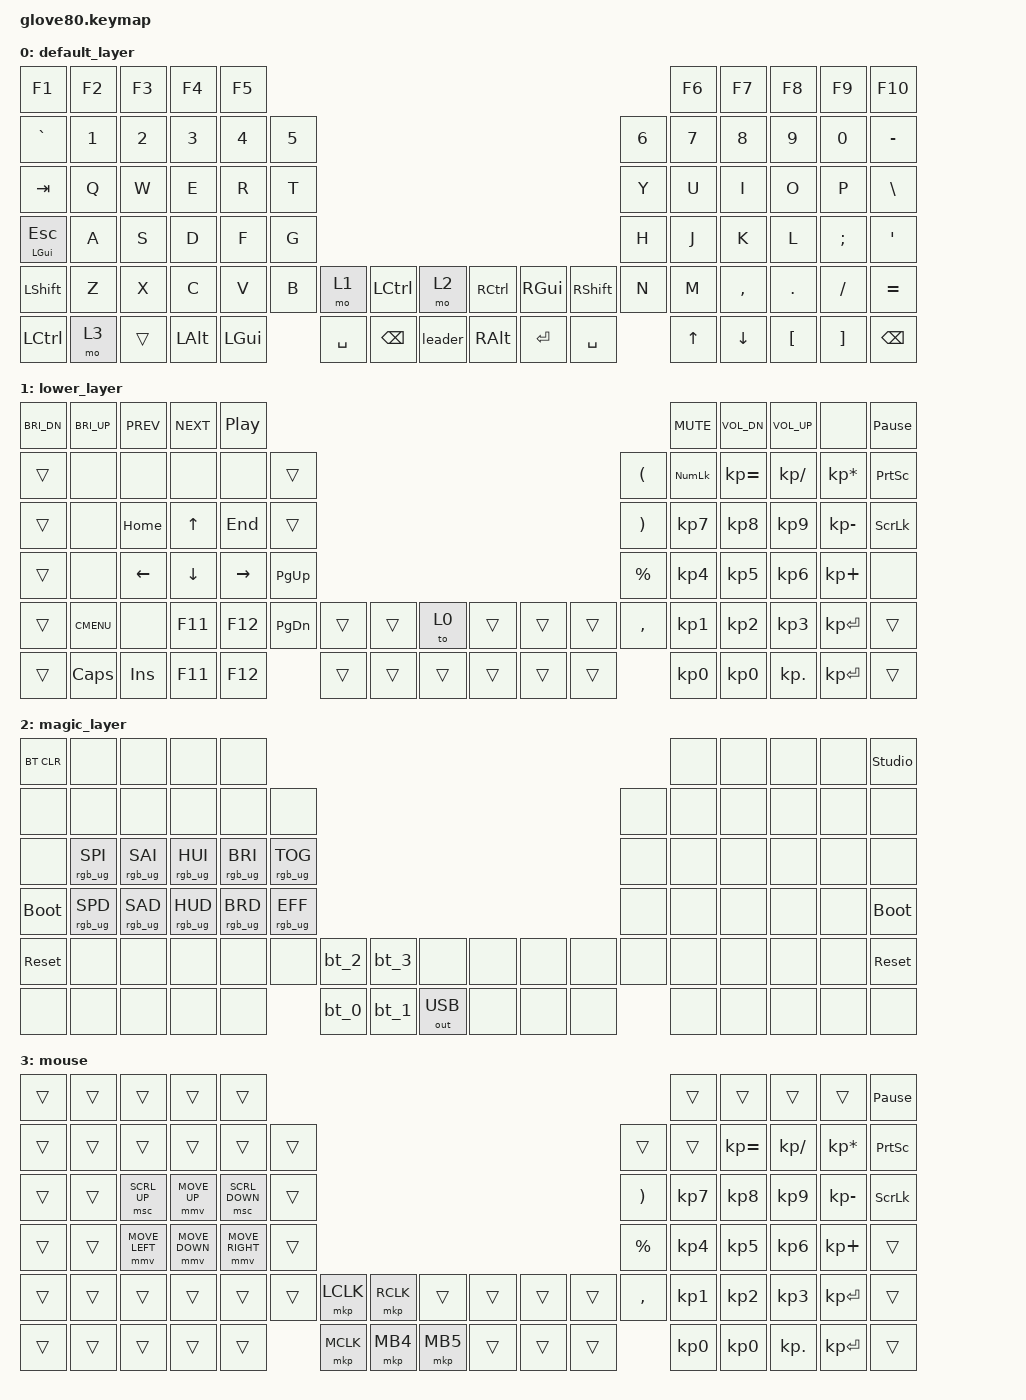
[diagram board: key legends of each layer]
/*
 * Copyright (c) 2020 The ZMK Contributors
 *
 * SPDX-License-Identifier: MIT
 */

#include <behaviors.dtsi>
#include <dt-bindings/zmk/bt.h>
#include <dt-bindings/zmk/keys.h>
#include <dt-bindings/zmk/outputs.h>
#include <dt-bindings/zmk/pointing.h>
#include <dt-bindings/zmk/rgb.h>

// layers

#define DEFAULT 0
#define LOWER 1
#define MAGIC 2

/ {
    behaviors {
        // For the "layer" key, it'd nice to be able to use it as either a shift or a toggle.
        // Configure it as a tap dance, so the first tap (or hold) is a &mo and the second tap is a &to

        layer_td: tap_dance_0 {
            compatible = "zmk,behavior-tap-dance";
            #binding-cells = <0>;
            tapping-term-ms = <200>;
            bindings = <&mo 1>, <&to 1>;
        };

        leader: leader {
            compatible = "zmk,behavior-leader-key";
            #binding-cells = <0>;

            usb {
                sequence = <U S B>;
                bindings = <&out OUT_USB>;
            };

            bt1 {
                sequence = <B T N1>;
                bindings = <&bt BT_SEL 0>;
            };

            bt2 {
                sequence = <B T N2>;
                bindings = <&bt BT_SEL 1>;
            };

            bt3 {
                sequence = <B T N3>;
                bindings = <&bt BT_SEL 2>;
            };

            boot {
                sequence = <B O O T>;
                bindings = <&bootloader>;
            };

            reset {
                sequence = <R E S E T>;
                bindings = <&sys_reset>;
            };
        };
    };

    macros {
        bt_0: bt_profile_macro_0 {
            compatible = "zmk,behavior-macro";
            #binding-cells = <0>;
            bindings = <&out OUT_BLE &bt BT_SEL 0>;
        };

        bt_1: bt_profile_macro_1 {
            compatible = "zmk,behavior-macro";
            #binding-cells = <0>;
            bindings = <&out OUT_BLE &bt BT_SEL 1>;
        };

        bt_2: bt_profile_macro_2 {
            compatible = "zmk,behavior-macro";
            #binding-cells = <0>;
            bindings = <&out OUT_BLE &bt BT_SEL 2>;
        };

        bt_3: bt_profile_macro_3 {
            compatible = "zmk,behavior-macro";
            #binding-cells = <0>;
            bindings = <&out OUT_BLE &bt BT_SEL 3>;
        };
    };

    keymap {
        compatible = "zmk,keymap";

        default_layer {
            // ---------------------------------------------------------------------------------------------------------------------------------
            // |  F1   |  F2 |  F3 |  F4  |  F5  |                                                               |  F6   |  F7   |  F8  |   F9  |  F10 |
            // |  =    |  1  |  2  |  3   |  4   |  5   |                                                 |  6   |   7   |   8   |  9   |   0   |   -  |
            // |  TAB  |  Q  |  W  |  E   |  R   |  T   |                                                 |  Y   |   U   |   I   |  O   |   P   |   \  |
            // |  ESC  |  A  |  S  |  D   |  F   |  G   |                                                 |  H   |   J   |   K   |  L   |   ;   |   '  |
            // |   `   |  Z  |  X  |  C   |  V   |  B   | LSHFT | LCTRL | LOWER | | LGUI  | RCTRL | RSHFT |  N   |   M   |   ,   |  .   |   /   | PGUP |
            // | MAGIC | HOME| END | LEFT | RIGHT|      | BSPC  | DEL   | LALT  | | RALT  | RET   | SPACE |      |  UP   | DOWN  |  [   |   ]   | PGDN |

            bindings = <
&kp F1               &kp F2  &kp F3  &kp F4        &kp F5                                                                                                  &kp F6  &kp F7     &kp F8    &kp F9    &kp F10
&kp GRAVE            &kp N1  &kp N2  &kp N3        &kp N4        &kp N5                                                                            &kp N6  &kp N7  &kp N8     &kp N9    &kp N0    &kp MINUS
&kp TAB              &kp Q   &kp W   &kp E         &kp R         &kp T                                                                             &kp Y   &kp U   &kp I      &kp O     &kp P     &kp BSLH
&mt LEFT_GUI ESCAPE  &kp A   &kp S   &kp D         &kp F         &kp G                                                                             &kp H   &kp J   &kp K      &kp L     &kp SEMI  &kp SQT
&kp LSHIFT           &kp Z   &kp X   &kp C         &kp V         &kp B   &mo 1      &kp LCTRL      &mo 2      &kp RCTRL  &kp RIGHT_GUI  &kp RSHFT  &kp N   &kp M   &kp COMMA  &kp DOT   &kp FSLH  &kp EQUAL
&kp LCTRL            &mo 3   &trans  &kp LEFT_ALT  &kp LEFT_GUI          &kp SPACE  &kp BACKSPACE  &leader    &kp RALT   &kp RET        &kp SPACE          &kp UP  &kp DOWN   &kp LBKT  &kp RBKT  &kp BACKSPACE
            >;
        };

        lower_layer {
            bindings = <
&kp C_BRI_DN  &kp C_BRI_UP  &kp C_PREV  &kp C_NEXT  &kp C_PP                                                                           &kp C_MUTE  &kp C_VOL_DN  &kp C_VOL_UP   &none            &kp PAUSE_BREAK
&trans        &none         &none       &none       &none      &trans                                                       &kp LPAR   &kp KP_NUM  &kp KP_EQUAL  &kp KP_DIVIDE  &kp KP_MULTIPLY  &kp PSCRN
&trans        &none         &kp HOME    &kp UP      &kp END    &trans                                                       &kp RPAR   &kp KP_N7   &kp KP_N8     &kp KP_N9      &kp KP_MINUS     &kp SLCK
&trans        &none         &kp LEFT    &kp DOWN    &kp RIGHT  &kp PG_UP                                                    &kp PRCNT  &kp KP_N4   &kp KP_N5     &kp KP_N6      &kp KP_PLUS      &none
&trans        &kp K_CMENU   &none       &kp F11     &kp F12    &kp PG_DN  &trans  &trans  &to 0     &trans  &trans  &trans  &kp COMMA  &kp KP_N1   &kp KP_N2     &kp KP_N3      &kp KP_ENTER     &trans
&trans        &kp CAPS      &kp INS     &kp F11     &kp F12               &trans  &trans  &trans    &trans  &trans  &trans             &kp KP_N0   &kp KP_N0     &kp KP_DOT     &kp KP_ENTER     &trans
            >;
        };

        magic_layer {
            bindings = <
&bt BT_CLR   &none            &none            &none            &none                                                                                       &none  &none  &none  &none  &studio_unlock
&none        &none            &none            &none            &none            &none                                                               &none  &none  &none  &none  &none  &none
&none        &rgb_ug RGB_SPI  &rgb_ug RGB_SAI  &rgb_ug RGB_HUI  &rgb_ug RGB_BRI  &rgb_ug RGB_TOG                                                     &none  &none  &none  &none  &none  &none
&bootloader  &rgb_ug RGB_SPD  &rgb_ug RGB_SAD  &rgb_ug RGB_HUD  &rgb_ug RGB_BRD  &rgb_ug RGB_EFF                                                     &none  &none  &none  &none  &none  &bootloader
&sys_reset   &none            &none            &none            &none            &none            &bt_2  &bt_3  &none           &none  &none  &none  &none  &none  &none  &none  &none  &sys_reset
&none        &none            &none            &none            &none                             &bt_0  &bt_1  &out OUT_USB    &none  &none  &none         &none  &none  &none  &none  &none
            >;
        };

        mouse {
            bindings = <
&trans  &trans  &trans          &trans          &trans                                                                                        &trans     &trans        &trans         &trans           &kp PAUSE_BREAK
&trans  &trans  &trans          &trans          &trans           &trans                                                            &trans     &trans     &kp KP_EQUAL  &kp KP_DIVIDE  &kp KP_MULTIPLY  &kp PSCRN
&trans  &trans  &msc SCRL_UP    &mmv MOVE_UP    &msc SCRL_DOWN   &trans                                                            &kp RPAR   &kp KP_N7  &kp KP_N8     &kp KP_N9      &kp KP_MINUS     &kp SLCK
&trans  &trans  &mmv MOVE_LEFT  &mmv MOVE_DOWN  &mmv MOVE_RIGHT  &trans                                                            &kp PRCNT  &kp KP_N4  &kp KP_N5     &kp KP_N6      &kp KP_PLUS      &trans
&trans  &trans  &trans          &trans          &trans           &trans  &mkp LCLK  &mkp RCLK  &trans      &trans  &trans  &trans  &kp COMMA  &kp KP_N1  &kp KP_N2     &kp KP_N3      &kp KP_ENTER     &trans
&trans  &trans  &trans          &trans          &trans                   &mkp MCLK  &mkp MB4   &mkp MB5    &trans  &trans  &trans             &kp KP_N0  &kp KP_N0     &kp KP_DOT     &kp KP_ENTER     &trans
            >;
        };
    };
};
